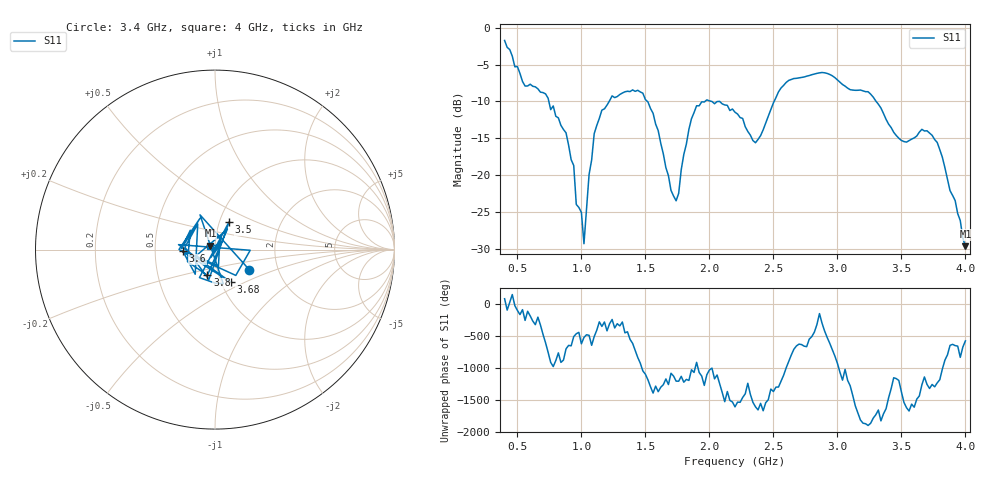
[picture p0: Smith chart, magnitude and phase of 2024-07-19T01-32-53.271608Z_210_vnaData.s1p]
!Created with skrf (http://scikit-rf.org).
# Hz S RI R 50.0
!freq ReS11 ImS11
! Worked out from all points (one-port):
!   181 points, 400 MHz to 4 GHz, reference 50 ohm
!   lowest |S11| = -29.6 dB at 4 GHz (marker M1), VSWR 1.07, Z = 47.5 + j2.07 ohm
!   |S11| at or under -10 dB: 745.7 MHz to 1.217 GHz (471.1 MHz wide, 48 % of centre); 1.516 GHz to 1.965 GHz (448.4 MHz wide, 25.8 % of centre); 3.303 GHz to end of sweep (the widest 3 of 5)
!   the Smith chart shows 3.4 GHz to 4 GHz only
!   S11 on the Smith chart (normalised r, x): 3.4 GHz: 1.43, -0.34; 3.5 GHz: 1.11, +0.35; 3.6 GHz: 0.70, -0.01; 3.68 GHz: 1.11, -0.42; 3.8 GHz: 0.88, -0.26; 4 GHz: 0.95, +0.04
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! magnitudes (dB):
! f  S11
! 400 MHz  -1.7
! 560 MHz  -7.9
! 720 MHz  -9.0
! 860 MHz  -13.8
! 940 MHz  -18.6
! 960 MHz  -23.9
! 1 GHz  -25.0
! 1.02 GHz  -29.2
! 1.06 GHz  -19.9
! 1.1 GHz  -14.3
! 1.3 GHz  -9.1
! 1.48 GHz  -8.9
! 1.6 GHz  -13.9
! 1.7 GHz  -22.0
! 1.76 GHz  -22.4
! 1.84 GHz  -13.7
! 1.9 GHz  -10.6
! 2.2 GHz  -11.4
! 2.36 GHz  -15.6
! 2.66 GHz  -6.9
! 3.1 GHz  -8.4
! 3.4 GHz  -13.1
! 3.5 GHz  -15.3
! 3.56 GHz  -15.3
! 3.6 GHz  -14.9
! 3.68 GHz  -14.0
! 3.8 GHz  -16.5
! 4 GHz  -29.6
